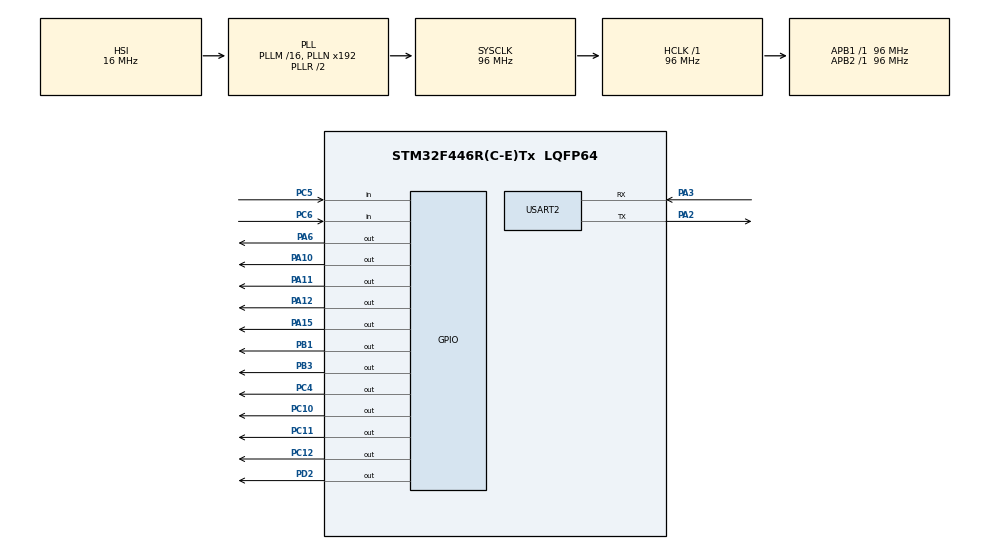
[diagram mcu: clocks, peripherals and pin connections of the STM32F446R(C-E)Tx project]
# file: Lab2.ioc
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Mcu.Family=STM32F4
Mcu.Name=STM32F446R(C-E)Tx
Mcu.Package=LQFP64
NVIC.PriorityGroup=NVIC_PRIORITYGROUP_4
PA10.Signal=GPIO_Output
PA11.Signal=GPIO_Output
PA12.Signal=GPIO_Output
PA15.Signal=GPIO_Output
PA2.Mode=Asynchronous
PA2.Signal=USART2_TX
PA3.Mode=Asynchronous
PA3.Signal=USART2_RX
PA6.Signal=GPIO_Output
PB1.Signal=GPIO_Output
PB3.Signal=GPIO_Output
PC10.Signal=GPIO_Output
PC11.Signal=GPIO_Output
PC12.Signal=GPIO_Output
PC4.Signal=GPIO_Output
PC5.Signal=GPIO_Input
PC6.Signal=GPIO_Input
PD2.Signal=GPIO_Output
PH0-OSC_IN.Mode=HSE-External-Oscillator
PH0-OSC_IN.Signal=RCC_OSC_IN
PH1-OSC_OUT.Mode=HSE-External-Oscillator
PH1-OSC_OUT.Signal=RCC_OSC_OUT
ProjectManager.HeapSize=0x200
ProjectManager.StackSize=0x400
ProjectManager.TargetToolchain=STM32CubeIDE
RCC.AHBFreq_Value=96000000
RCC.APB1Freq_Value=96000000
RCC.APB1TimFreq_Value=96000000
RCC.APB2Freq_Value=96000000
RCC.APB2TimFreq_Value=96000000
RCC.CortexFreq_Value=96000000
RCC.HCLKFreq_Value=96000000
RCC.SYSCLKFreq_VALUE=96000000
RCC.SYSCLKSource=RCC_SYSCLKSOURCE_PLLRCLK
RCC.USBFreq_Value=96000000
RCC.VCOOutputFreq_Value=192000000
USART2.VirtualMode=VM_ASYNC
board=custom

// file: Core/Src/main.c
/* USER CODE BEGIN Header */
/**
 ******************************************************************************
 * @file           : main.c
 * @brief          : Main program body
 ******************************************************************************
 * @attention
 *
 * Copyright (c) 2022 STMicroelectronics.
 * All rights reserved.
 *
 * This software is licensed under terms that can be found in the LICENSE file
 * in the root directory of this software component.
 * If no LICENSE file comes with this software, it is provided AS-IS.
 *
 ******************************************************************************
 */
/* USER CODE END Header */
#include "main.h"

/* USER CODE BEGIN PTD */
typedef struct pinconfig_t {
	GPIO_TypeDef *GPIO_port;
	typeof(GPIO_PIN_All) GPIO_pin;
} pinconfig_t;
/* USER CODE END PTD */

/* USER CODE BEGIN PD */
#define bitRead(value, bit) (((value) >> (bit)) & 0x01)
/* USER CODE END PD */

/* USER CODE BEGIN PM */
#define DIG4_PORT GPIOB
#define DIG4_PIN GPIO_PIN_1

#define DIG3_PORT GPIOB
#define DIG3_PIN GPIO_PIN_3

#define DIG2_PORT GPIOA
#define DIG2_PIN GPIO_PIN_10

#define DIG1_PORT GPIOC
#define DIG1_PIN GPIO_PIN_4

#define A_PORT GPIOA
#define A_PIN GPIO_PIN_6

#define B_PORT GPIOA
#define B_PIN GPIO_PIN_12

#define C_PORT GPIOA
#define C_PIN GPIO_PIN_11

#define D_PORT GPIOC
#define D_PIN GPIO_PIN_10

#define E_PORT GPIOC
#define E_PIN GPIO_PIN_11

#define F_PORT GPIOD
#define F_PIN GPIO_PIN_2

#define G_PORT GPIOC
#define G_PIN GPIO_PIN_12

#define DP_PORT GPIOA
#define DP_PIN GPIO_PIN_15

#define CODE_CLEAR 10
/* USER CODE END PM */

UART_HandleTypeDef huart2;

/* USER CODE BEGIN PV */
const pinconfig_t segment_pins[] = { { A_PORT, A_PIN }, { B_PORT, B_PIN }, {
		C_PORT, C_PIN }, { D_PORT, D_PIN }, { E_PORT, E_PIN },
		{ F_PORT, F_PIN }, { G_PORT, G_PIN }, { DP_PORT, DP_PIN }, };

const pinconfig_t digit_pins[] = { { DIG1_PORT, DIG1_PIN }, { DIG2_PORT,
		DIG2_PIN }, { DIG3_PORT, DIG3_PIN }, { DIG4_PORT, DIG4_PIN }, };

const uint8_t segment_codes[] = {
//abcdefgp
		0b11111100,// 0
		0b01100000, // 1
		0b11011010, // 2
		0b11110010, // 3
		0b01100110, // 4
		0b10110110, // 5
		0b00111110, // 6
		0b11100000, // 7
		0b11111110, // 8
		0b11100110, // 9
		0b00000000, // Clear (10)
		0b00000010, // Dash (11)
		};

const GPIO_TypeDef *GPIO_ports[] = {
GPIOA,
GPIOB,
GPIOC,
GPIOD, };

const uint8_t n_ports = sizeof(GPIO_ports) / sizeof(GPIO_ports[0]);
/* USER CODE END PV */

void SystemClock_Config(void);
static void MX_GPIO_Init(void);
static void MX_USART2_UART_Init(void);

/* USER CODE BEGIN 0 */

void light_digit2(int digit, int number) {
	uint16_t GPIO_set_masks[n_ports];
	uint16_t GPIO_reset_masks[n_ports];
	memset(GPIO_set_masks, 0, sizeof(GPIO_set_masks));
	memset(GPIO_reset_masks, 0, sizeof(GPIO_reset_masks));
	uint8_t GPIO_port_index;
	for (uint8_t n_segment = 0; n_segment < 7; n_segment++) {
		for (GPIO_port_index = 0;; GPIO_port_index++)
			if (segment_pins[n_segment].GPIO_port == GPIO_ports[GPIO_port_index])
				break;
		(bitRead(segment_codes[number],7-n_segment)?GPIO_set_masks:GPIO_reset_masks)
				[GPIO_port_index] |= segment_pins[n_segment].GPIO_pin;
	}
	for (uint8_t n_digit = 0; n_digit < 3; n_digit++) {
			for (GPIO_port_index = 0;; GPIO_port_index++)
				if (digit_pins[n_digit].GPIO_port == GPIO_ports[GPIO_port_index])
					break;
			(number-1 == n_digit?GPIO_set_masks:GPIO_reset_masks)
					[GPIO_port_index] |= digit_pins[n_digit].GPIO_pin;
	}

	for(uint8_t port = 0; port < n_ports; port++) {
		HAL_GPIO_WritePin(GPIO_ports[port], GPIO_set_masks[port], GPIO_PIN_RESET);
		HAL_GPIO_WritePin(GPIO_ports[port], GPIO_reset_masks[port], GPIO_PIN_SET);
	}

}

void light_sticks(int a, int b, int c, int d, int e, int f, int g) {
	HAL_GPIO_WritePin(A_PORT, A_PIN, a ? GPIO_PIN_RESET : GPIO_PIN_SET);
	HAL_GPIO_WritePin(B_PORT, B_PIN, b ? GPIO_PIN_RESET : GPIO_PIN_SET);
	HAL_GPIO_WritePin(C_PORT, C_PIN, c ? GPIO_PIN_RESET : GPIO_PIN_SET);
	HAL_GPIO_WritePin(D_PORT, D_PIN, d ? GPIO_PIN_RESET : GPIO_PIN_SET);
	HAL_GPIO_WritePin(E_PORT, E_PIN, e ? GPIO_PIN_RESET : GPIO_PIN_SET);
	HAL_GPIO_WritePin(F_PORT, F_PIN, f ? GPIO_PIN_RESET : GPIO_PIN_SET);
	HAL_GPIO_WritePin(G_PORT, G_PIN, g ? GPIO_PIN_RESET : GPIO_PIN_SET);
	HAL_GPIO_WritePin(DP_PORT, DP_PIN, GPIO_PIN_SET);
}

void light_position(int position) {
	HAL_GPIO_WritePin(DIG1_PORT, DIG1_PIN,
			(position == 1) ? GPIO_PIN_RESET : GPIO_PIN_SET);
	HAL_GPIO_WritePin(DIG2_PORT, DIG2_PIN,
			(position == 2) ? GPIO_PIN_RESET : GPIO_PIN_SET);
	HAL_GPIO_WritePin(DIG3_PORT, DIG3_PIN,
			(position == 3) ? GPIO_PIN_RESET : GPIO_PIN_SET);
	HAL_GPIO_WritePin(DIG4_PORT, DIG4_PIN,
			(position == 4) ? GPIO_PIN_RESET : GPIO_PIN_SET);
}

void light_digit(int position, int digit) {

	light_position(position);
	switch (digit) {
	case 0:
		light_sticks(1, 1, 1, 1, 1, 1, 0);
		break;
	case 1:
		light_sticks(0, 1, 1, 0, 0, 0, 0);
		break;
	case 2:
		light_sticks(1, 1, 0, 1, 1, 0, 1);
		break;
	case 3:
		light_sticks(1, 1, 1, 1, 0, 0, 1);
		break;
	case 4:
		light_sticks(0, 1, 1, 0, 0, 1, 1);
		break;
	case 5:
		light_sticks(1, 0, 1, 1, 0, 1, 1);
		break;
	case 6:
		light_sticks(1, 0, 1, 1, 1, 1, 1);
		break;
	case 7:
		light_sticks(1, 1, 1, 0, 0, 0, 0);
		break;
	case 8:
		light_sticks(1, 1, 1, 1, 1, 1, 1);
		break;
	case 9:
		light_sticks(1, 1, 1, 1, 0, 1, 1);
		break;
	default:
		light_sticks(0, 0, 0, 0, 0, 0, 0);
		break;
	}

}

void light_number(int number) {
	if(number < 0) {
		number = -number;
		light_digit(4, 12);
	} else
		light_digit(4, (number / 1000) % 10);
	HAL_Delay(1);
	light_digit(1, number % 10);
	HAL_Delay(1);
	light_digit(2, (number / 10) % 10);
	HAL_Delay(1);
	light_digit(3, (number / 100) % 10);
	HAL_Delay(1);
}

/* USER CODE END 0 */

int main(void)
{

  /* MCU Configuration--------------------------------------------------------*/

  /* Reset of all peripherals, Initializes the Flash interface and the Systick. */
  HAL_Init();

  /* Configure the system clock */
  SystemClock_Config();

  /* Initialize all configured peripherals */
  MX_GPIO_Init();
  MX_USART2_UART_Init();

  /* Infinite loop */
  /* USER CODE BEGIN WHILE */
  	int cnt = 0;
  	int red_port_prev = HAL_GPIO_ReadPin(GPIOC, GPIO_PIN_5);
  	int blue_port_prev = HAL_GPIO_ReadPin(GPIOC, GPIO_PIN_6);
  	int red_port_cur;
  	int blue_port_cur;
	while (1) {
		red_port_cur = HAL_GPIO_ReadPin(GPIOC, GPIO_PIN_5);
		blue_port_cur = HAL_GPIO_ReadPin(GPIOC, GPIO_PIN_6);
		if (red_port_cur != red_port_prev && red_port_cur) {
			cnt++;
		}
		if (blue_port_cur != blue_port_prev && blue_port_cur) {
			cnt--;
		}
		red_port_prev = red_port_cur;
		blue_port_prev = blue_port_cur;

		if (cnt > 9999) cnt = 0;
		if (cnt < 0) cnt = 9999;

		light_number(cnt);
    /* USER CODE END WHILE */

	}
}

void SystemClock_Config(void)
{
  RCC_OscInitTypeDef RCC_OscInitStruct = {0};
  RCC_ClkInitTypeDef RCC_ClkInitStruct = {0};

  /** Configure the main internal regulator output voltage
  */
  __HAL_RCC_PWR_CLK_ENABLE();
  __HAL_PWR_VOLTAGESCALING_CONFIG(PWR_REGULATOR_VOLTAGE_SCALE3);

  /** Initializes the RCC Oscillators according to the specified parameters
  * in the RCC_OscInitTypeDef structure.
  */
  RCC_OscInitStruct.OscillatorType = RCC_OSCILLATORTYPE_HSI;
  RCC_OscInitStruct.HSIState = RCC_HSI_ON;
  RCC_OscInitStruct.HSICalibrationValue = RCC_HSICALIBRATION_DEFAULT;
  RCC_OscInitStruct.PLL.PLLState = RCC_PLL_ON;
  RCC_OscInitStruct.PLL.PLLSource = RCC_PLLSOURCE_HSI;
  RCC_OscInitStruct.PLL.PLLM = 16;
  RCC_OscInitStruct.PLL.PLLN = 192;
  RCC_OscInitStruct.PLL.PLLP = RCC_PLLP_DIV2;
  RCC_OscInitStruct.PLL.PLLQ = 2;
  RCC_OscInitStruct.PLL.PLLR = 2;
  if (HAL_RCC_OscConfig(&RCC_OscInitStruct) != HAL_OK)
  {
    Error_Handler();
  }

  /** Initializes the CPU, AHB and APB buses clocks
  */
  RCC_ClkInitStruct.ClockType = RCC_CLOCKTYPE_HCLK|RCC_CLOCKTYPE_SYSCLK
                              |RCC_CLOCKTYPE_PCLK1|RCC_CLOCKTYPE_PCLK2;
  RCC_ClkInitStruct.SYSCLKSource = RCC_SYSCLKSOURCE_PLLRCLK;
  RCC_ClkInitStruct.AHBCLKDivider = RCC_SYSCLK_DIV1;
  RCC_ClkInitStruct.APB1CLKDivider = RCC_HCLK_DIV1;
  RCC_ClkInitStruct.APB2CLKDivider = RCC_HCLK_DIV1;

  if (HAL_RCC_ClockConfig(&RCC_ClkInitStruct, FLASH_LATENCY_3) != HAL_OK)
  {
    Error_Handler();
  }
}

static void MX_USART2_UART_Init(void)
{

  huart2.Instance = USART2;
  huart2.Init.BaudRate = 115200;
  huart2.Init.WordLength = UART_WORDLENGTH_8B;
  huart2.Init.StopBits = UART_STOPBITS_1;
  huart2.Init.Parity = UART_PARITY_NONE;
  huart2.Init.Mode = UART_MODE_TX_RX;
  huart2.Init.HwFlowCtl = UART_HWCONTROL_NONE;
  huart2.Init.OverSampling = UART_OVERSAMPLING_16;
  if (HAL_UART_Init(&huart2) != HAL_OK)
  {
    Error_Handler();
  }

}

static void MX_GPIO_Init(void)
{
  GPIO_InitTypeDef GPIO_InitStruct = {0};

  /* GPIO Ports Clock Enable */
  __HAL_RCC_GPIOH_CLK_ENABLE();
  __HAL_RCC_GPIOA_CLK_ENABLE();
  __HAL_RCC_GPIOC_CLK_ENABLE();
  __HAL_RCC_GPIOB_CLK_ENABLE();
  __HAL_RCC_GPIOD_CLK_ENABLE();

  /*Configure GPIO pin Output Level */
  HAL_GPIO_WritePin(GPIOA, GPIO_PIN_6|GPIO_PIN_10|GPIO_PIN_11|GPIO_PIN_12
                          |GPIO_PIN_15, GPIO_PIN_RESET);

  /*Configure GPIO pin Output Level */
  HAL_GPIO_WritePin(GPIOC, GPIO_PIN_4|GPIO_PIN_10|GPIO_PIN_11|GPIO_PIN_12, GPIO_PIN_RESET);

  /*Configure GPIO pin Output Level */
  HAL_GPIO_WritePin(GPIOB, GPIO_PIN_1|GPIO_PIN_3, GPIO_PIN_RESET);

  /*Configure GPIO pin Output Level */
  HAL_GPIO_WritePin(GPIOD, GPIO_PIN_2, GPIO_PIN_RESET);

  /*Configure GPIO pins : PA6 PA10 PA11 PA12
                           PA15 */
  GPIO_InitStruct.Pin = GPIO_PIN_6|GPIO_PIN_10|GPIO_PIN_11|GPIO_PIN_12
                          |GPIO_PIN_15;
  GPIO_InitStruct.Mode = GPIO_MODE_OUTPUT_PP;
  GPIO_InitStruct.Pull = GPIO_NOPULL;
  GPIO_InitStruct.Speed = GPIO_SPEED_FREQ_LOW;
  HAL_GPIO_Init(GPIOA, &GPIO_InitStruct);

  /*Configure GPIO pins : PC4 PC10 PC11 PC12 */
  GPIO_InitStruct.Pin = GPIO_PIN_4|GPIO_PIN_10|GPIO_PIN_11|GPIO_PIN_12;
  GPIO_InitStruct.Mode = GPIO_MODE_OUTPUT_PP;
  GPIO_InitStruct.Pull = GPIO_NOPULL;
  GPIO_InitStruct.Speed = GPIO_SPEED_FREQ_LOW;
  HAL_GPIO_Init(GPIOC, &GPIO_InitStruct);

  /*Configure GPIO pins : PC5 PC6 */
  GPIO_InitStruct.Pin = GPIO_PIN_5|GPIO_PIN_6;
  GPIO_InitStruct.Mode = GPIO_MODE_INPUT;
  GPIO_InitStruct.Pull = GPIO_NOPULL;
  HAL_GPIO_Init(GPIOC, &GPIO_InitStruct);

  /*Configure GPIO pins : PB1 PB3 */
  GPIO_InitStruct.Pin = GPIO_PIN_1|GPIO_PIN_3;
  GPIO_InitStruct.Mode = GPIO_MODE_OUTPUT_PP;
  GPIO_InitStruct.Pull = GPIO_NOPULL;
  GPIO_InitStruct.Speed = GPIO_SPEED_FREQ_LOW;
  HAL_GPIO_Init(GPIOB, &GPIO_InitStruct);

  /*Configure GPIO pin : PD2 */
  GPIO_InitStruct.Pin = GPIO_PIN_2;
  GPIO_InitStruct.Mode = GPIO_MODE_OUTPUT_PP;
  GPIO_InitStruct.Pull = GPIO_NOPULL;
  GPIO_InitStruct.Speed = GPIO_SPEED_FREQ_LOW;
  HAL_GPIO_Init(GPIOD, &GPIO_InitStruct);

}

void Error_Handler(void)
{
	__disable_irq();
	while (1) {
	}
}
